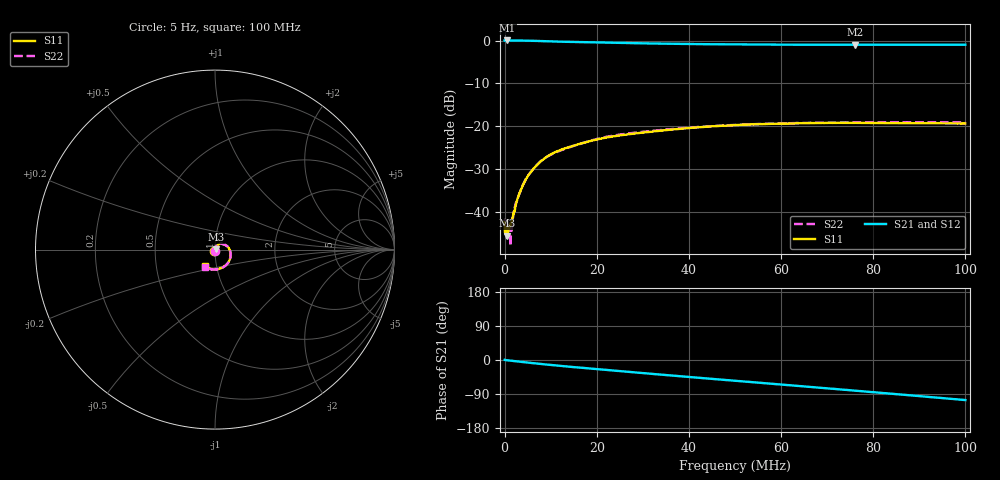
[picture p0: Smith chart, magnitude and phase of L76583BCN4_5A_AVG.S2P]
!Agilent Technologies,E5061B,MY49102235,A.02.00
!Date: Tue Jul 11 17:03:19 2023
!Data & Calibration Information:
!Freq	S11:SOLT2(ON)	S21:SOLT2(ON)	S12:SOLT2(ON)	S22:SOLT2(ON)
# Hz S RI R 50
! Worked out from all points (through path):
!   1600 points, 5 Hz to 100 MHz, reference 50 ohm
!   highest |S21| = 0.02 dB at 625.4 kHz (marker M1); lowest = -1.0 dB at 76.05 MHz (marker M2)
!   group delay of S21, straight-line fit = 2.86 ns
!   lowest |S11| = -45.5 dB at 500.3 kHz (marker M3), VSWR 1.01, Z = 50.5 + j0.246 ohm
!   |S11| at or under -10 dB: start of sweep to end of sweep
!   |S22| runs from -48.0 to -19.0 dB; largest |S21 - S12| = 0.0027
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5  -0.00523 -0.00565  1.002 0.00802  1.001 0.0102  -0.00141 -0.00754
500317.7  0.00473 0.00244  1.001 -0.0106  1.002 -0.0105  0.00493 0.00086
625395.8  0.00525 0.00299  1.002 -0.0141  1.002 -0.0137  0.00628 0.00262
1000630  0.00406 0.00499  1.001 -0.0223  1.001 -0.0217  0.00543 0.00406
1313326  0.00494 0.00533  1.001 -0.029  1.001 -0.0291  0.00314 0.00377
1688560  0.00451 0.007  1 -0.0391  1.001 -0.0391  0.00423 0.00616
2063795  0.00407 0.00951  1.001 -0.0481  0.9997 -0.0484  0.0045 0.00929
2376490  0.00456 0.0108  0.9986 -0.0554  0.9989 -0.0555  0.00522 0.0112
3189498  0.00685 0.015  0.9969 -0.0747  0.9966 -0.0746  0.00574 0.0151
4565358  0.0101 0.0215  0.9913 -0.1074  0.991 -0.107  0.00976 0.0219
6128835  0.0164 0.0267  0.9825 -0.1423  0.9825 -0.1423  0.0158 0.0271
7942469  0.0241 0.031  0.9696 -0.1814  0.9693 -0.1812  0.0239 0.0316
1.013134e7  0.0345 0.0324  0.9514 -0.224  0.9512 -0.2235  0.0337 0.0325
1.282052e7  0.0454 0.0305  0.9289 -0.2714  0.9289 -0.271  0.0445 0.0304
1.669794e7  0.0579 0.0253  0.8957 -0.3357  0.8955 -0.3354  0.0577 0.0253
2.332708e7  0.0752 0.0106  0.8337 -0.4362  0.8334 -0.4359  0.0768 0.0095
3.333334e7  0.086 -0.0201  0.7265 -0.5676  0.7264 -0.5672  0.0873 -0.0213
5.003127e7  0.0728 -0.0733  0.5194 -0.7362  0.5194 -0.7358  0.0728 -0.0742
6.672921e7  0.0289 -0.1051  0.2837 -0.8468  0.284 -0.8466  0.0298 -0.1057
7.604753e7  0.00253 -0.1096  0.141 -0.8809  0.1412 -0.8807  0.00315 -0.111
8.33646e7  -0.0168 -0.1078  0.0249 -0.8922  0.025 -0.892  -0.0164 -0.1102
1e8  -0.055 -0.0928  -0.2428 -0.8604  -0.2426 -0.8603  -0.0552 -0.0961
